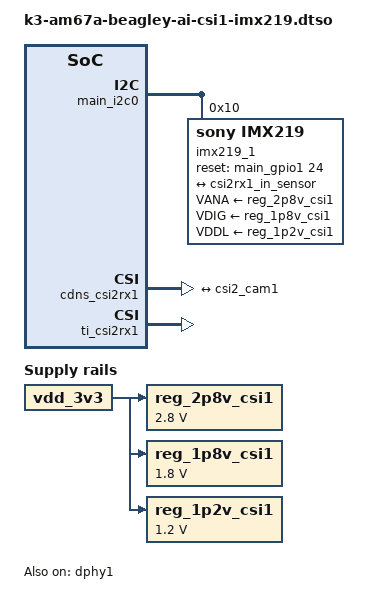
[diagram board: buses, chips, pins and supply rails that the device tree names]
// SPDX-License-Identifier: GPL-2.0-only OR MIT
/*
 * RPi Camera V2.1 on BeagleY AI CSI1 port
 *
 * Copyright (C) 2026 Ideas On Board Oy
 */

/dts-v1/;
/plugin/;

#include <dt-bindings/gpio/gpio.h>
#include "k3-pinctrl.h"

&{/} {
	clk_imx219_csi1: imx219-csi1-xclk {
		compatible = "fixed-clock";
		#clock-cells = <0>;
		clock-frequency = <24000000>;
	};

	reg_2p8v_csi1: regulator-2p8v-csi1 {
		compatible = "regulator-fixed";
		regulator-name = "2P8V_CSI1";
		regulator-min-microvolt = <2800000>;
		regulator-max-microvolt = <2800000>;
		vin-supply = <&vdd_3v3>;
		regulator-always-on;
	};

	reg_1p8v_csi1: regulator-1p8v-csi1 {
		compatible = "regulator-fixed";
		regulator-name = "1P8V_CSI1";
		regulator-min-microvolt = <1800000>;
		regulator-max-microvolt = <1800000>;
		vin-supply = <&vdd_3v3>;
		regulator-always-on;
	};

	reg_1p2v_csi1: regulator-1p2v-csi1 {
		compatible = "regulator-fixed";
		regulator-name = "1P2V_CSI1";
		regulator-min-microvolt = <1200000>;
		regulator-max-microvolt = <1200000>;
		vin-supply = <&vdd_3v3>;
		regulator-always-on;
	};
};

&main_pmx0 {
	cam1_reset_pins_default: cam1-default-reset-pins {
		pinctrl-single,pins = <
			J722S_IOPAD(0x01d8, PIN_OUTPUT, 7) /* (D22) MCAN0_TX.GPIO1_24 */
		>;
	};
};

&dsi_csi_mux {
	idle-state = <1>;
};

&main_i2c0 {
	#address-cells = <1>;
	#size-cells = <0>;

	status = "okay";

	imx219_1: sensor@10 {
		compatible = "sony,imx219";
		reg = <0x10>;

		clocks = <&clk_imx219_csi1>;

		VANA-supply = <&reg_2p8v_csi1>;
		VDIG-supply = <&reg_1p8v_csi1>;
		VDDL-supply = <&reg_1p2v_csi1>;

		pinctrl-names = "default";
		pinctrl-0 = <&cam1_reset_pins_default>;

		reset-gpios = <&main_gpio1 24 GPIO_ACTIVE_HIGH>;

		port {
			csi2_cam1: endpoint {
				remote-endpoint = <&csi2rx1_in_sensor>;
				link-frequencies = /bits/ 64 <456000000>;
				clock-lanes = <0>;
				data-lanes = <1 2>;
			};
		};
	};
};

&cdns_csi2rx1 {
	ports {
		#address-cells = <1>;
		#size-cells = <0>;

		csi1_port0: port@0 {
			reg = <0>;
			status = "okay";

			csi2rx1_in_sensor: endpoint {
				remote-endpoint = <&csi2_cam1>;
				bus-type = <4>; /* CSI2 DPHY. */
				clock-lanes = <0>;
				data-lanes = <1 2>;
			};
		};
	};
};

&ti_csi2rx1 {
	status = "okay";
};

&dphy1 {
	status = "okay";
};
